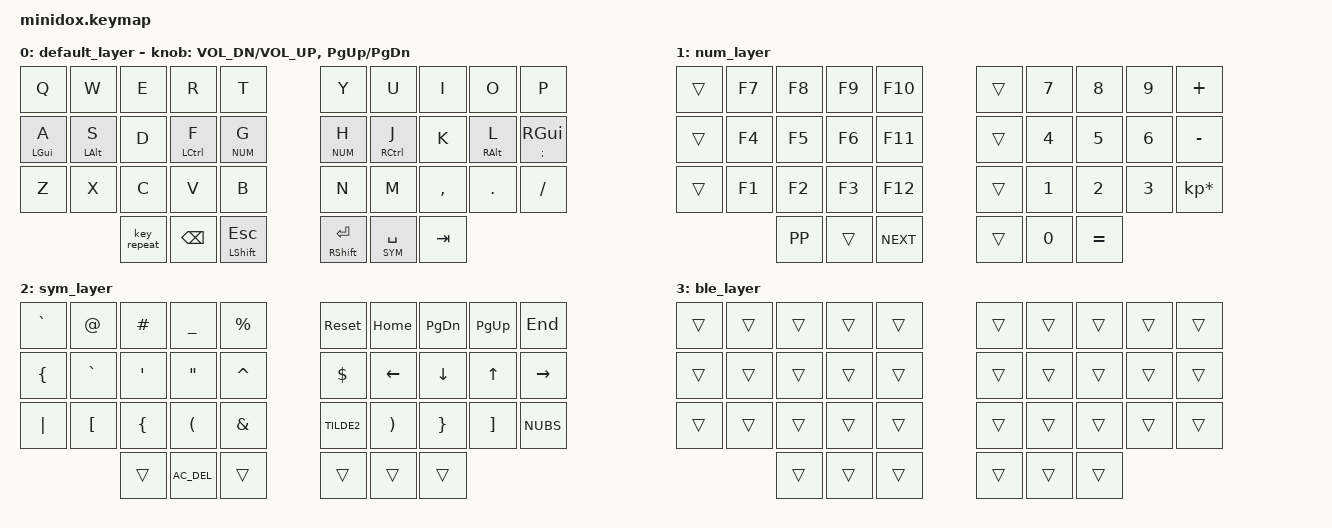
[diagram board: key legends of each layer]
#include <behaviors.dtsi>
#include <dt-bindings/zmk/keys.h>
#include <dt-bindings/zmk/bt.h>

#define QWERTY 0
#define NUM 1
#define SYM 2
#define BLE 3

&mt {
    tapping-term-ms = <300>;
    flavor = "tap-preferred";
};

/ {
    keymap {
        compatible = "zmk,keymap";

        default_layer {
/* Qwerty
 * ,----------------------------------.        ,----------------------------------.
 * |   Q  |   W  |   E  |   R  |   T  |        |   Y  |   U  |   I  |   O  |   P  |
 * |------+------+------+------+------|        |------+------+------+------+------|
 * | GUI_A|ALT_S |   D  |CTRL_F| NUM_G|        | NUM_G|CTRL_J|   K  |ALT_L | GUI_;|
 * |------+------+------+------+------|        |------+------+------+------+------|
 * |   Z  |   X  |   C  |   V  |   B  |        |   N  |   M  |   ,  |   .  |   /  |
 * `-------------+------+------+------|        |------+------+------+-------------'
 *               | REP  | BKS  |SF_ESC|        |SF_RET|SM_SPC| TAB  |
 *               `--------------------'        `--------------------'
 */
                        bindings = <
    &kp Q      &kp W       &kp E        &kp R        &kp T          &kp Y          &kp U         &kp I     &kp O      &kp P
    &mt LGUI A &mt LALT S  &kp D        &mt LCTRL F  &lt NUM G      &lt NUM H      &mt RCTRL J   &kp K     &mt RALT L &mt SEMI RGUI
    &kp Z      &kp X       &kp C        &kp V        &kp B          &kp N          &kp M         &kp COMMA &kp DOT    &kp FSLH
                           &key_repeat  &kp BSPC     &mt LSHFT ESC  &mt RSHFT RET  &lt SYM SPACE &kp TAB
                >;
            sensor-bindings = <&inc_dec_kp C_VOL_DN C_VOL_UP &inc_dec_kp PG_UP PG_DN>;
        };
        num_layer {

/* Numbers
 * ,----------------------------------.        ,----------------------------------.
 * |      |  F7  |  F8  |  F9  |  F10 |        |      |  7   |  8   |  9   |  +   |
 * |------+------+------+------+------|        |------+------+------+------+------|
 * |      |  F4  |  F5  |  F6  |  F11 |        |      |  4   |  5   |  6   |  -   |
 * |------+------+------+------+------|        |------+------+------+------+------|
 * |      |  F1  |  F2  |  F3  |  F12 |        |      |  1   |  2   |  3   |  *   |
 * `-------------+------+------+------|        |------+------+------+-------------'
 *               | PLAY |      | NEXT |        |      |   0  |  =   |
 *               `--------------------'        `--------------------'
*/
                        bindings = <
    &trans &kp F7 &kp F8   &kp F9 &kp F10     &trans &kp N7 &kp N8    &kp N9 &kp PLUS
    &trans &kp F4 &kp F5   &kp F6 &kp F11     &trans &kp N4 &kp N5    &kp N6 &kp MINUS
    &trans &kp F1 &kp F2   &kp F3 &kp F12     &trans &kp N1 &kp N2    &kp N3 &kp KP_MULTIPLY
                  &kp K_PP &trans &kp K_NEXT  &trans &kp N0 &kp EQUAL
                >;
        };
        sym_layer {

/* Symbols
 * ,----------------------------------.        ,----------------------------------.
 * |   !  |   @  | HASH |   _  |   %  |        | RESET| HOME | PGDN | PGUP | END  |
 * |------+------+------+------+------|        |------+------+------+------+------|
 * |   ?  |   `  |   "  |   '  |   ^  |        |   $  | LEFT | DOWN |  UP  | RIGHT|
 * |------+------+------+------+------|        |------+------+------+------+------|
 * |   |  |   [  |   {  |   (  |   &  |        |   ~  |  )   |  }   |  ]   |  \   |
 * `-------------+------+------+------|        |------+------+------+-------------'
 *               |      |  DEL |      |        |      |      |      |
 *               `--------------------'        `--------------------'
 */
                        bindings = <
    &kp GRAVE  &kp AT    &kp HASH  &kp UNDER    &kp PRCNT  &sys_reset &kp HOME &kp PG_DN &kp PG_UP &kp END
    &kp LBRC   &kp GRAVE &kp SQT   &kp DQT      &kp CARET  &kp DLLR   &kp LEFT &kp DOWN  &kp UP    &kp RIGHT
    &kp PIPE   &kp LBKT  &kp LBRC  &kp LPAR     &kp AMPS   &kp TILDE2 &kp RPAR &kp RBRC  &kp RBKT  &kp NUBS
                         &trans    &kp C_AC_DEL &trans     &trans     &trans   &trans
                >;
        };
        

        ble_layer {

/* Bluetooth
 * ,----------------------------------.        ,----------------------------------.
 * |      |      |      |      |      |        |      |      |      |      |      |
 * |------+------+------+------+------|        |------+------+------+------+------|
 * |      |      |      |      |      |        |      |      |      |      |      |
 * |------+------+------+------+------|        |------+------+------+------+------|
 * |      |      |      |      |      |        |      |      |      |      |      |
 * `-------------+------+------+------|        |------+------+------+-------------'
 *               |      |      |      |        |      |      |      |
 *               `--------------------'        `--------------------'
 */
                        bindings = <
    &trans &trans &trans &trans    &trans &trans &trans &trans &trans &trans
    &trans &trans &trans &trans    &trans &trans &trans &trans &trans &trans 
    &trans &trans &trans &trans    &trans &trans &trans &trans &trans &trans 
                         &trans    &trans &trans &trans &trans &trans
                >;
        };
    };
};
